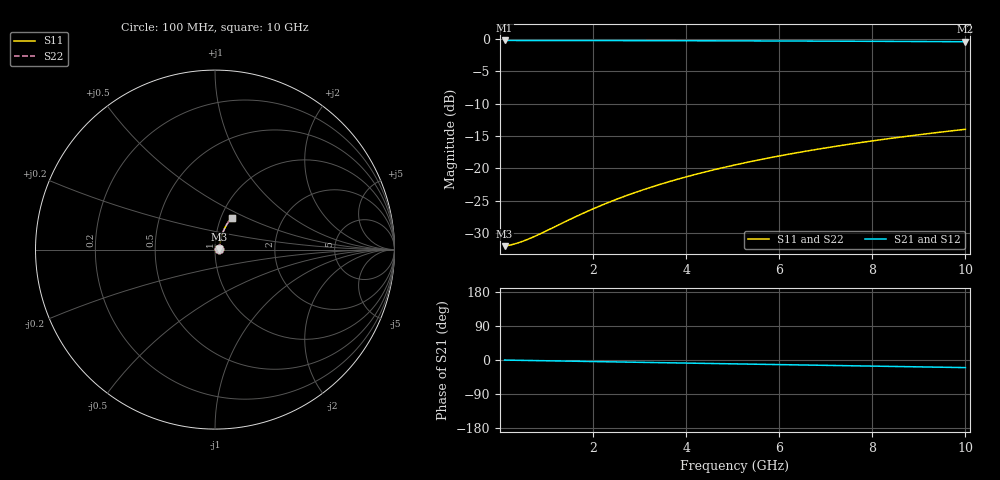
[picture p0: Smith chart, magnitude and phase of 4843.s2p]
# Hz S RI R 50.00
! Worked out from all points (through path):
!   100 points, 100 MHz to 10 GHz, reference 50 ohm
!   highest |S21| = -0.22 dB at 100 MHz (marker M1); lowest = -0.4 dB at 10 GHz (marker M2)
!   group delay of S21, straight-line fit = 5.58 ps
!   lowest |S11| = -32.0 dB at 100 MHz (marker M3), VSWR 1.05, Z = 52.6 + j0.208 ohm
!   |S11| at or under -10 dB: start of sweep to end of sweep
!   |S22| runs from -32.0 to -13.9 dB; largest |S21 - S12| = 0
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1e8  0.025 0.00197  0.975 -0.00346  0.975 -0.00346  0.025 0.00197
3e8  0.0254 0.00592  0.9746 -0.0104  0.9746 -0.0104  0.0254 0.00592
4e8  0.0255 0.00789  0.9745 -0.0138  0.9745 -0.0138  0.0255 0.00789
6e8  0.0258 0.0118  0.9742 -0.0208  0.9742 -0.0208  0.0258 0.0118
9e8  0.0263 0.0177  0.9736 -0.0311  0.9736 -0.0311  0.0263 0.0177
1.5e9  0.0276 0.0295  0.9722 -0.0518  0.9722 -0.0518  0.0276 0.0295
1.8e9  0.0284 0.0353  0.9713 -0.0621  0.9713 -0.0621  0.0284 0.0353
2.2e9  0.0296 0.0431  0.9698 -0.0759  0.9698 -0.0759  0.0296 0.0431
2.6e9  0.031 0.0508  0.9682 -0.0895  0.9682 -0.0895  0.031 0.0508
3e9  0.0327 0.0585  0.9663 -0.1032  0.9663 -0.1032  0.0327 0.0585
3.4e9  0.0346 0.0661  0.9641 -0.1168  0.9641 -0.1168  0.0346 0.0661
3.8e9  0.0366 0.0737  0.9617 -0.1303  0.9617 -0.1303  0.0366 0.0737
4.2e9  0.0389 0.0811  0.9591 -0.1437  0.9591 -0.1437  0.0389 0.0811
4.6e9  0.0414 0.0885  0.9562 -0.1571  0.9562 -0.1571  0.0414 0.0885
5.1e9  0.0448 0.0977  0.9522 -0.1737  0.9522 -0.1737  0.0448 0.0977
5.5e9  0.0477 0.1049  0.9488 -0.1868  0.9488 -0.1868  0.0477 0.1049
5.9e9  0.0508 0.112  0.9452 -0.1999  0.9452 -0.1999  0.0508 0.112
6.7e9  0.0576 0.1259  0.9372 -0.2257  0.9372 -0.2257  0.0576 0.1259
7.5e9  0.0652 0.1393  0.9284 -0.2511  0.9284 -0.2511  0.0652 0.1393
8.4e9  0.0745 0.1538  0.9174 -0.279  0.9174 -0.279  0.0745 0.1538
9.2e9  0.0835 0.1661  0.9068 -0.3033  0.9068 -0.3033  0.0835 0.1661
1e10  0.0931 0.1778  0.8955 -0.327  0.8955 -0.327  0.0931 0.1778
